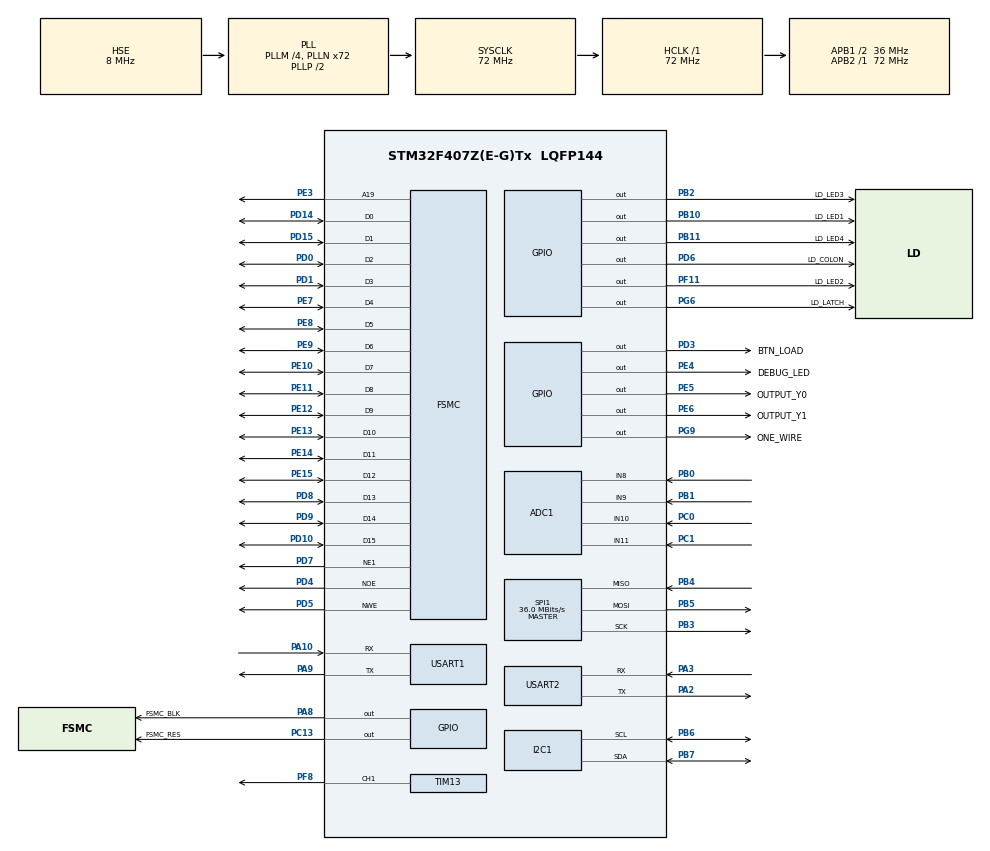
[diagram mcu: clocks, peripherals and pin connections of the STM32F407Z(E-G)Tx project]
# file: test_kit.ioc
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ADC1.Channel-10\#ChannelRegularConversion=ADC_CHANNEL_10
ADC1.Channel-11\#ChannelRegularConversion=ADC_CHANNEL_11
ADC1.Channel-12\#ChannelRegularConversion=ADC_CHANNEL_8
ADC1.Channel-13\#ChannelRegularConversion=ADC_CHANNEL_9
ADC1.ContinuousConvMode=DISABLE
ADC1.DMAContinuousRequests=DISABLE
ADC1.NbrOfConversion=4
ADC1.NbrOfConversionFlag=1
ADC1.Rank-10\#ChannelRegularConversion=1
ADC1.Rank-11\#ChannelRegularConversion=2
ADC1.Rank-12\#ChannelRegularConversion=3
ADC1.Rank-13\#ChannelRegularConversion=4
ADC1.SamplingTime-10\#ChannelRegularConversion=ADC_SAMPLETIME_15CYCLES
ADC1.SamplingTime-11\#ChannelRegularConversion=ADC_SAMPLETIME_15CYCLES
ADC1.SamplingTime-12\#ChannelRegularConversion=ADC_SAMPLETIME_15CYCLES
ADC1.SamplingTime-13\#ChannelRegularConversion=ADC_SAMPLETIME_15CYCLES
ADC1.ScanConvMode=ENABLE
ADC1.master=1
Dma.ADC1.0.Direction=DMA_PERIPH_TO_MEMORY
Dma.ADC1.0.FIFOMode=DMA_FIFOMODE_DISABLE
Dma.ADC1.0.Instance=DMA2_Stream0
Dma.ADC1.0.MemDataAlignment=DMA_MDATAALIGN_WORD
Dma.ADC1.0.MemInc=DMA_MINC_ENABLE
Dma.ADC1.0.Mode=DMA_CIRCULAR
Dma.ADC1.0.PeriphDataAlignment=DMA_PDATAALIGN_WORD
Dma.ADC1.0.PeriphInc=DMA_PINC_DISABLE
Dma.ADC1.0.Priority=DMA_PRIORITY_LOW
Dma.Request0=ADC1
FSMC.AddressSetupTime1=0x0f
FSMC.BusTurnAroundDuration1=0x00
FSMC.DataSetupTime1=60
FSMC.ExtendedAddressSetupTime1=9
FSMC.ExtendedBusTurnAroundDuration1=0
FSMC.ExtendedDataSetupTime1=8
FSMC.ExtendedMode1=FSMC_EXTENDED_MODE_ENABLE
Mcu.Family=STM32F4
Mcu.Name=STM32F407Z(E-G)Tx
Mcu.Package=LQFP144
NVIC.DMA2_Stream0_IRQn=true\:0\:0\:false\:false\:true\:false\:true
NVIC.I2C1_EV_IRQn=true\:0\:0\:false\:false\:true\:true\:true
NVIC.PriorityGroup=NVIC_PRIORITYGROUP_4
NVIC.SPI1_IRQn=true\:0\:0\:false\:false\:true\:true\:true
NVIC.TIM2_IRQn=true\:0\:0\:false\:false\:true\:true\:true
NVIC.USART1_IRQn=true\:0\:0\:false\:false\:true\:true\:true
NVIC.USART2_IRQn=true\:0\:0\:false\:false\:true\:true\:true
PA10.Mode=Asynchronous
PA10.Signal=USART1_RX
PA13.Mode=Serial_Wire
PA13.Signal=SYS_JTMS-SWDIO
PA14.Mode=Serial_Wire
PA14.Signal=SYS_JTCK-SWCLK
PA2.Mode=Asynchronous
PA2.Signal=USART2_TX
PA3.Mode=Asynchronous
PA3.Signal=USART2_RX
PA8.GPIO_Label=FSMC_BLK
PA8.GPIO_PuPd=GPIO_PULLUP
PA8.GPIO_Speed=GPIO_SPEED_FREQ_VERY_HIGH
PA8.Signal=GPIO_Output
PA9.Mode=Asynchronous
PA9.Signal=USART1_TX
PB0.Signal=ADCx_IN8
PB1.Signal=ADCx_IN9
PB10.GPIO_Label=LD_LED1
PB10.GPIO_Speed=GPIO_SPEED_FREQ_LOW
PB10.Signal=GPIO_Output
PB11.GPIO_Label=LD_LED4
PB11.GPIO_Speed=GPIO_SPEED_FREQ_LOW
PB11.Signal=GPIO_Output
PB2.GPIO_Label=LD_LED3
PB2.GPIO_Speed=GPIO_SPEED_FREQ_LOW
PB2.Signal=GPIO_Output
PB3.Mode=Full_Duplex_Master
PB3.Signal=SPI1_SCK
PB4.Mode=Full_Duplex_Master
PB4.Signal=SPI1_MISO
PB5.Mode=Full_Duplex_Master
PB5.Signal=SPI1_MOSI
PB6.Mode=I2C
PB6.Signal=I2C1_SCL
PB7.Mode=I2C
PB7.Signal=I2C1_SDA
PC0.Signal=ADCx_IN10
PC1.Signal=ADCx_IN11
PC13-ANTI_TAMP.GPIO_Label=FSMC_RES
PC13-ANTI_TAMP.GPIO_PuPd=GPIO_PULLUP
PC13-ANTI_TAMP.Signal=GPIO_Output
PD0.GPIO_PuPd=GPIO_PULLUP
PD0.Signal=FSMC_D2_DA2
PD1.GPIO_PuPd=GPIO_PULLUP
PD1.Signal=FSMC_D3_DA3
PD10.GPIO_PuPd=GPIO_PULLUP
PD10.Signal=FSMC_D15_DA15
PD14.GPIO_PuPd=GPIO_PULLUP
PD14.Signal=FSMC_D0_DA0
PD15.GPIO_PuPd=GPIO_PULLUP
PD15.Signal=FSMC_D1_DA1
PD3.GPIO_Label=BTN_LOAD
PD3.Signal=GPIO_Output
PD4.GPIO_PuPd=GPIO_PULLUP
PD4.Signal=FSMC_NOE
PD5.GPIO_PuPd=GPIO_PULLUP
PD5.Signal=FSMC_NWE
PD6.GPIO_Label=LD_COLON
PD6.Signal=GPIO_Output
PD7.GPIO_PuPd=GPIO_PULLUP
PD7.Mode=NorPsramChipSelect1_1
PD7.Signal=FSMC_NE1
PD8.GPIO_PuPd=GPIO_PULLUP
PD8.Signal=FSMC_D13_DA13
PD9.GPIO_PuPd=GPIO_PULLUP
PD9.Signal=FSMC_D14_DA14
PE10.GPIO_PuPd=GPIO_PULLUP
PE10.Signal=FSMC_D7_DA7
PE11.GPIO_PuPd=GPIO_PULLUP
PE11.Signal=FSMC_D8_DA8
PE12.GPIO_PuPd=GPIO_PULLUP
PE12.Signal=FSMC_D9_DA9
PE13.GPIO_PuPd=GPIO_PULLUP
PE13.Signal=FSMC_D10_DA10
PE14.GPIO_PuPd=GPIO_PULLUP
PE14.Signal=FSMC_D11_DA11
PE15.GPIO_PuPd=GPIO_PULLUP
PE15.Signal=FSMC_D12_DA12
PE3.GPIO_PuPd=GPIO_PULLUP
PE3.Signal=FSMC_A19
PE4.GPIO_Label=DEBUG_LED
PE4.Signal=GPIO_Output
PE5.GPIO_Label=OUTPUT_Y0
PE5.Signal=GPIO_Output
PE6.GPIO_Label=OUTPUT_Y1
PE6.Signal=GPIO_Output
PE7.GPIO_PuPd=GPIO_PULLUP
PE7.Signal=FSMC_D4_DA4
PE8.GPIO_PuPd=GPIO_PULLUP
PE8.Signal=FSMC_D5_DA5
PE9.GPIO_PuPd=GPIO_PULLUP
PE9.Signal=FSMC_D6_DA6
PF11.GPIO_Label=LD_LED2
PF11.GPIO_Speed=GPIO_SPEED_FREQ_LOW
PF11.Signal=GPIO_Output
PF8.Signal=S_TIM13_CH1
PG6.GPIO_Label=LD_LATCH
PG6.Signal=GPIO_Output
PG9.GPIO_Label=ONE_WIRE
PG9.GPIO_PuPd=GPIO_NOPULL
PG9.Signal=GPIO_Output
PH0-OSC_IN.Mode=HSE-External-Oscillator
PH0-OSC_IN.Signal=RCC_OSC_IN
PH1-OSC_OUT.Mode=HSE-External-Oscillator
PH1-OSC_OUT.Signal=RCC_OSC_OUT
ProjectManager.HeapSize=0x200
ProjectManager.StackSize=0x400
ProjectManager.TargetToolchain=STM32CubeIDE
RCC.48MHZClocksFreq_Value=36000000
RCC.AHBFreq_Value=72000000
RCC.APB1CLKDivider=RCC_HCLK_DIV2
RCC.APB1Freq_Value=36000000
RCC.APB1TimFreq_Value=72000000
RCC.APB2Freq_Value=72000000
RCC.APB2TimFreq_Value=72000000
RCC.CortexFreq_Value=72000000
RCC.HCLKFreq_Value=72000000
RCC.HSE_VALUE=8000000
RCC.HSI_VALUE=16000000
RCC.LSE_VALUE=32768
RCC.PLLM=4
RCC.PLLN=72
RCC.PLLSourceVirtual=RCC_PLLSOURCE_HSE
RCC.SYSCLKFreq_VALUE=72000000
RCC.SYSCLKSource=RCC_SYSCLKSOURCE_PLLCLK
RCC.VCOOutputFreq_Value=144000000
SH.ADCx_IN10.0=ADC1_IN10,IN10
SH.ADCx_IN11.0=ADC1_IN11,IN11
SH.ADCx_IN8.0=ADC1_IN8,IN8
SH.ADCx_IN9.0=ADC1_IN9,IN9
SH.FSMC_A19.0=FSMC_A19,A19_1
SH.FSMC_D0_DA0.0=FSMC_D0,16b-d1
SH.FSMC_D10_DA10.0=FSMC_D10,16b-d1
SH.FSMC_D11_DA11.0=FSMC_D11,16b-d1
SH.FSMC_D12_DA12.0=FSMC_D12,16b-d1
SH.FSMC_D13_DA13.0=FSMC_D13,16b-d1
SH.FSMC_D14_DA14.0=FSMC_D14,16b-d1
SH.FSMC_D15_DA15.0=FSMC_D15,16b-d1
SH.FSMC_D1_DA1.0=FSMC_D1,16b-d1
SH.FSMC_D2_DA2.0=FSMC_D2,16b-d1
SH.FSMC_D3_DA3.0=FSMC_D3,16b-d1
SH.FSMC_D4_DA4.0=FSMC_D4,16b-d1
SH.FSMC_D5_DA5.0=FSMC_D5,16b-d1
SH.FSMC_D6_DA6.0=FSMC_D6,16b-d1
SH.FSMC_D7_DA7.0=FSMC_D7,16b-d1
SH.FSMC_D8_DA8.0=FSMC_D8,16b-d1
SH.FSMC_D9_DA9.0=FSMC_D9,16b-d1
SH.FSMC_NOE.0=FSMC_NOE,Lcd1
SH.FSMC_NWE.0=FSMC_NWE,Lcd1
SH.S_TIM13_CH1.0=TIM13_CH1,PWM Generation1 CH1
SPI1.BaudRatePrescaler=SPI_BAUDRATEPRESCALER_2
SPI1.CalculateBaudRate=36.0 MBits/s
SPI1.Direction=SPI_DIRECTION_2LINES
SPI1.FirstBit=SPI_FIRSTBIT_MSB
SPI1.Mode=SPI_MODE_MASTER
SPI1.VirtualType=VM_MASTER
TIM13.AutoReloadPreload=TIM_AUTORELOAD_PRELOAD_ENABLE
TIM13.Channel=TIM_CHANNEL_1
TIM13.Period=9
TIM13.Prescaler=7199
TIM13.Pulse=0
TIM2.Period=99
TIM2.Prescaler=719
TIM3.AutoReloadPreload=TIM_AUTORELOAD_PRELOAD_ENABLE
TIM3.Period=0xffff-1
TIM3.Prescaler=71
USART1.VirtualMode=VM_ASYNC
USART2.VirtualMode=VM_ASYNC
VP_TIM13_VS_ClockSourceINT.Mode=Enable_Timer
VP_TIM2_VS_ClockSourceINT.Mode=Internal
VP_TIM3_VS_ClockSourceINT.Mode=Internal
board=custom

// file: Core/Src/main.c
/* USER CODE BEGIN Header */
/**
  ******************************************************************************
  * @file           : main.c
  * @brief          : Main program body
  ******************************************************************************
  * @attention
  *
  * <h2><center>&copy; Copyright (c) 2023 STMicroelectronics.
  * All rights reserved.</center></h2>
  *
  * This software component is licensed by ST under BSD 3-Clause license,
  * the "License"; You may not use this file except in compliance with the
  * License. You may obtain a copy of the License at:
  *                        opensource.org/licenses/BSD-3-Clause
  *
  ******************************************************************************
  */
/* USER CODE END Header */
#include "main.h"

/* USER CODE BEGIN Includes */
#include "timer.h"
#include "led7.h"
#include "button.h"
#include "dht11.h"
#include "ds3231.h"
#include "pwm.h"
#include "lcd.h"
#include "adc.h"
#include <stdio.h>
/* USER CODE END Includes */

ADC_HandleTypeDef hadc1;
DMA_HandleTypeDef hdma_adc1;

I2C_HandleTypeDef hi2c1;

SPI_HandleTypeDef hspi1;

TIM_HandleTypeDef htim2;
TIM_HandleTypeDef htim3;
TIM_HandleTypeDef htim13;

UART_HandleTypeDef huart1;
UART_HandleTypeDef huart2;

SRAM_HandleTypeDef hsram1;

/* USER CODE BEGIN PV */
uint8_t counter_debug = 0;
/* USER CODE END PV */

void SystemClock_Config(void);
static void MX_GPIO_Init(void);
static void MX_TIM2_Init(void);
static void MX_USART1_UART_Init(void);
static void MX_SPI1_Init(void);
static void MX_DMA_Init(void);
static void MX_ADC1_Init(void);
static void MX_TIM3_Init(void);
static void MX_I2C1_Init(void);
static void MX_USART2_UART_Init(void);
static void MX_TIM13_Init(void);
static void MX_FSMC_Init(void);
/* USER CODE BEGIN PFP */
void output_Test();
void init_system();
/* USER CODE END PFP */

/* USER CODE BEGIN 0 */
void DrawTestPage(uint8_t *str)
{
	lcd_Fill(0,0,lcddev.width,20,BLUE);
	lcd_Fill(0,lcddev.height-20,lcddev.width,lcddev.height,BLUE);
	lcd_StrCenter(0,2,str,WHITE,BLUE,16,1);
	lcd_StrCenter(0,lcddev.height-18,"Test page",WHITE,BLUE,16,1);
	lcd_Fill(0,20,lcddev.width,lcddev.height-20,BLACK);
}
/* USER CODE END 0 */

int main(void)
{

  /* MCU Configuration--------------------------------------------------------*/

  /* Reset of all peripherals, Initializes the Flash interface and the Systick. */
  HAL_Init();

  /* Configure the system clock */
  SystemClock_Config();

  /* Initialize all configured peripherals */
  MX_GPIO_Init();
  MX_TIM2_Init();
  MX_USART1_UART_Init();
  MX_SPI1_Init();
  MX_DMA_Init();
  MX_ADC1_Init();
  MX_TIM3_Init();
  MX_I2C1_Init();
  MX_USART2_UART_Init();
  MX_TIM13_Init();
  MX_FSMC_Init();
  /* USER CODE BEGIN 2 */
  init_system();
  /* USER CODE END 2 */

  /* Infinite loop */
  /* USER CODE BEGIN WHILE */

  //read
  uint8_t s[50];

//  HAL_UART_Transmit(&huart1, (void*)s, sprintf(s, "%d:%d:%d", getHour(), getMin(), getSec()), 10);
  lcd_ShowOne();
  while (1)
  {
    /* USER CODE END WHILE */

    /* USER CODE BEGIN 3 */
	  while(!flag_timer2);
	  flag_timer2 = 0;
	  rtc_Read();
	  button_Scan();
	  adc_Test();
	  lcd_Test();
	  output_Test();
	  rtc_Display7Seg();
	  button_Test();
	  pwm_Test();
  }
  /* USER CODE END 3 */
}

void SystemClock_Config(void)
{
  RCC_OscInitTypeDef RCC_OscInitStruct = {0};
  RCC_ClkInitTypeDef RCC_ClkInitStruct = {0};

  /** Configure the main internal regulator output voltage
  */
  __HAL_RCC_PWR_CLK_ENABLE();
  __HAL_PWR_VOLTAGESCALING_CONFIG(PWR_REGULATOR_VOLTAGE_SCALE1);
  /** Initializes the RCC Oscillators according to the specified parameters
  * in the RCC_OscInitTypeDef structure.
  */
  RCC_OscInitStruct.OscillatorType = RCC_OSCILLATORTYPE_HSE;
  RCC_OscInitStruct.HSEState = RCC_HSE_ON;
  RCC_OscInitStruct.PLL.PLLState = RCC_PLL_ON;
  RCC_OscInitStruct.PLL.PLLSource = RCC_PLLSOURCE_HSE;
  RCC_OscInitStruct.PLL.PLLM = 4;
  RCC_OscInitStruct.PLL.PLLN = 72;
  RCC_OscInitStruct.PLL.PLLP = RCC_PLLP_DIV2;
  RCC_OscInitStruct.PLL.PLLQ = 4;
  if (HAL_RCC_OscConfig(&RCC_OscInitStruct) != HAL_OK)
  {
    Error_Handler();
  }
  /** Initializes the CPU, AHB and APB buses clocks
  */
  RCC_ClkInitStruct.ClockType = RCC_CLOCKTYPE_HCLK|RCC_CLOCKTYPE_SYSCLK
                              |RCC_CLOCKTYPE_PCLK1|RCC_CLOCKTYPE_PCLK2;
  RCC_ClkInitStruct.SYSCLKSource = RCC_SYSCLKSOURCE_PLLCLK;
  RCC_ClkInitStruct.AHBCLKDivider = RCC_SYSCLK_DIV1;
  RCC_ClkInitStruct.APB1CLKDivider = RCC_HCLK_DIV2;
  RCC_ClkInitStruct.APB2CLKDivider = RCC_HCLK_DIV1;

  if (HAL_RCC_ClockConfig(&RCC_ClkInitStruct, FLASH_LATENCY_2) != HAL_OK)
  {
    Error_Handler();
  }
}

static void MX_ADC1_Init(void)
{

  ADC_ChannelConfTypeDef sConfig = {0};

  /** Configure the global features of the ADC (Clock, Resolution, Data Alignment and number of conversion)
  */
  hadc1.Instance = ADC1;
  hadc1.Init.ClockPrescaler = ADC_CLOCK_SYNC_PCLK_DIV2;
  hadc1.Init.Resolution = ADC_RESOLUTION_12B;
  hadc1.Init.ScanConvMode = ENABLE;
  hadc1.Init.ContinuousConvMode = DISABLE;
  hadc1.Init.DiscontinuousConvMode = DISABLE;
  hadc1.Init.ExternalTrigConvEdge = ADC_EXTERNALTRIGCONVEDGE_NONE;
  hadc1.Init.ExternalTrigConv = ADC_SOFTWARE_START;
  hadc1.Init.DataAlign = ADC_DATAALIGN_RIGHT;
  hadc1.Init.NbrOfConversion = 4;
  hadc1.Init.DMAContinuousRequests = DISABLE;
  hadc1.Init.EOCSelection = ADC_EOC_SINGLE_CONV;
  if (HAL_ADC_Init(&hadc1) != HAL_OK)
  {
    Error_Handler();
  }
  /** Configure for the selected ADC regular channel its corresponding rank in the sequencer and its sample time.
  */
  sConfig.Channel = ADC_CHANNEL_10;
  sConfig.Rank = 1;
  sConfig.SamplingTime = ADC_SAMPLETIME_15CYCLES;
  if (HAL_ADC_ConfigChannel(&hadc1, &sConfig) != HAL_OK)
  {
    Error_Handler();
  }
  /** Configure for the selected ADC regular channel its corresponding rank in the sequencer and its sample time.
  */
  sConfig.Channel = ADC_CHANNEL_11;
  sConfig.Rank = 2;
  if (HAL_ADC_ConfigChannel(&hadc1, &sConfig) != HAL_OK)
  {
    Error_Handler();
  }
  /** Configure for the selected ADC regular channel its corresponding rank in the sequencer and its sample time.
  */
  sConfig.Channel = ADC_CHANNEL_8;
  sConfig.Rank = 3;
  if (HAL_ADC_ConfigChannel(&hadc1, &sConfig) != HAL_OK)
  {
    Error_Handler();
  }
  /** Configure for the selected ADC regular channel its corresponding rank in the sequencer and its sample time.
  */
  sConfig.Channel = ADC_CHANNEL_9;
  sConfig.Rank = 4;
  if (HAL_ADC_ConfigChannel(&hadc1, &sConfig) != HAL_OK)
  {
    Error_Handler();
  }

}

static void MX_I2C1_Init(void)
{

  hi2c1.Instance = I2C1;
  hi2c1.Init.ClockSpeed = 100000;
  hi2c1.Init.DutyCycle = I2C_DUTYCYCLE_2;
  hi2c1.Init.OwnAddress1 = 0;
  hi2c1.Init.AddressingMode = I2C_ADDRESSINGMODE_7BIT;
  hi2c1.Init.DualAddressMode = I2C_DUALADDRESS_DISABLE;
  hi2c1.Init.OwnAddress2 = 0;
  hi2c1.Init.GeneralCallMode = I2C_GENERALCALL_DISABLE;
  hi2c1.Init.NoStretchMode = I2C_NOSTRETCH_DISABLE;
  if (HAL_I2C_Init(&hi2c1) != HAL_OK)
  {
    Error_Handler();
  }

}

static void MX_SPI1_Init(void)
{

  /* SPI1 parameter configuration*/
  hspi1.Instance = SPI1;
  hspi1.Init.Mode = SPI_MODE_MASTER;
  hspi1.Init.Direction = SPI_DIRECTION_2LINES;
  hspi1.Init.DataSize = SPI_DATASIZE_8BIT;
  hspi1.Init.CLKPolarity = SPI_POLARITY_LOW;
  hspi1.Init.CLKPhase = SPI_PHASE_1EDGE;
  hspi1.Init.NSS = SPI_NSS_SOFT;
  hspi1.Init.BaudRatePrescaler = SPI_BAUDRATEPRESCALER_2;
  hspi1.Init.FirstBit = SPI_FIRSTBIT_MSB;
  hspi1.Init.TIMode = SPI_TIMODE_DISABLE;
  hspi1.Init.CRCCalculation = SPI_CRCCALCULATION_DISABLE;
  hspi1.Init.CRCPolynomial = 10;
  if (HAL_SPI_Init(&hspi1) != HAL_OK)
  {
    Error_Handler();
  }

}

static void MX_TIM2_Init(void)
{

  TIM_ClockConfigTypeDef sClockSourceConfig = {0};
  TIM_MasterConfigTypeDef sMasterConfig = {0};

  htim2.Instance = TIM2;
  htim2.Init.Prescaler = 719;
  htim2.Init.CounterMode = TIM_COUNTERMODE_UP;
  htim2.Init.Period = 99;
  htim2.Init.ClockDivision = TIM_CLOCKDIVISION_DIV1;
  htim2.Init.AutoReloadPreload = TIM_AUTORELOAD_PRELOAD_DISABLE;
  if (HAL_TIM_Base_Init(&htim2) != HAL_OK)
  {
    Error_Handler();
  }
  sClockSourceConfig.ClockSource = TIM_CLOCKSOURCE_INTERNAL;
  if (HAL_TIM_ConfigClockSource(&htim2, &sClockSourceConfig) != HAL_OK)
  {
    Error_Handler();
  }
  sMasterConfig.MasterOutputTrigger = TIM_TRGO_RESET;
  sMasterConfig.MasterSlaveMode = TIM_MASTERSLAVEMODE_DISABLE;
  if (HAL_TIMEx_MasterConfigSynchronization(&htim2, &sMasterConfig) != HAL_OK)
  {
    Error_Handler();
  }

}

static void MX_TIM3_Init(void)
{

  TIM_ClockConfigTypeDef sClockSourceConfig = {0};
  TIM_MasterConfigTypeDef sMasterConfig = {0};

  htim3.Instance = TIM3;
  htim3.Init.Prescaler = 71;
  htim3.Init.CounterMode = TIM_COUNTERMODE_UP;
  htim3.Init.Period = 0xffff-1;
  htim3.Init.ClockDivision = TIM_CLOCKDIVISION_DIV1;
  htim3.Init.AutoReloadPreload = TIM_AUTORELOAD_PRELOAD_ENABLE;
  if (HAL_TIM_Base_Init(&htim3) != HAL_OK)
  {
    Error_Handler();
  }
  sClockSourceConfig.ClockSource = TIM_CLOCKSOURCE_INTERNAL;
  if (HAL_TIM_ConfigClockSource(&htim3, &sClockSourceConfig) != HAL_OK)
  {
    Error_Handler();
  }
  sMasterConfig.MasterOutputTrigger = TIM_TRGO_RESET;
  sMasterConfig.MasterSlaveMode = TIM_MASTERSLAVEMODE_DISABLE;
  if (HAL_TIMEx_MasterConfigSynchronization(&htim3, &sMasterConfig) != HAL_OK)
  {
    Error_Handler();
  }

}

static void MX_TIM13_Init(void)
{

  TIM_OC_InitTypeDef sConfigOC = {0};

  htim13.Instance = TIM13;
  htim13.Init.Prescaler = 7199;
  htim13.Init.CounterMode = TIM_COUNTERMODE_UP;
  htim13.Init.Period = 9;
  htim13.Init.ClockDivision = TIM_CLOCKDIVISION_DIV1;
  htim13.Init.AutoReloadPreload = TIM_AUTORELOAD_PRELOAD_ENABLE;
  if (HAL_TIM_Base_Init(&htim13) != HAL_OK)
  {
    Error_Handler();
  }
  if (HAL_TIM_PWM_Init(&htim13) != HAL_OK)
  {
    Error_Handler();
  }
  sConfigOC.OCMode = TIM_OCMODE_PWM1;
  sConfigOC.Pulse = 0;
  sConfigOC.OCPolarity = TIM_OCPOLARITY_HIGH;
  sConfigOC.OCFastMode = TIM_OCFAST_DISABLE;
  if (HAL_TIM_PWM_ConfigChannel(&htim13, &sConfigOC, TIM_CHANNEL_1) != HAL_OK)
  {
    Error_Handler();
  }
  HAL_TIM_MspPostInit(&htim13);

}

static void MX_USART1_UART_Init(void)
{

  huart1.Instance = USART1;
  huart1.Init.BaudRate = 115200;
  huart1.Init.WordLength = UART_WORDLENGTH_8B;
  huart1.Init.StopBits = UART_STOPBITS_1;
  huart1.Init.Parity = UART_PARITY_NONE;
  huart1.Init.Mode = UART_MODE_TX_RX;
  huart1.Init.HwFlowCtl = UART_HWCONTROL_NONE;
  huart1.Init.OverSampling = UART_OVERSAMPLING_16;
  if (HAL_UART_Init(&huart1) != HAL_OK)
  {
    Error_Handler();
  }

}

static void MX_USART2_UART_Init(void)
{

  huart2.Instance = USART2;
  huart2.Init.BaudRate = 115200;
  huart2.Init.WordLength = UART_WORDLENGTH_8B;
  huart2.Init.StopBits = UART_STOPBITS_1;
  huart2.Init.Parity = UART_PARITY_NONE;
  huart2.Init.Mode = UART_MODE_TX_RX;
  huart2.Init.HwFlowCtl = UART_HWCONTROL_NONE;
  huart2.Init.OverSampling = UART_OVERSAMPLING_16;
  if (HAL_UART_Init(&huart2) != HAL_OK)
  {
    Error_Handler();
  }

}

static void MX_DMA_Init(void)
{

  /* DMA controller clock enable */
  __HAL_RCC_DMA2_CLK_ENABLE();

  /* DMA interrupt init */
  /* DMA2_Stream0_IRQn interrupt configuration */
  HAL_NVIC_SetPriority(DMA2_Stream0_IRQn, 0, 0);
  HAL_NVIC_EnableIRQ(DMA2_Stream0_IRQn);

}

static void MX_GPIO_Init(void)
{
  GPIO_InitTypeDef GPIO_InitStruct = {0};

  /* GPIO Ports Clock Enable */
  __HAL_RCC_GPIOE_CLK_ENABLE();
  __HAL_RCC_GPIOC_CLK_ENABLE();
  __HAL_RCC_GPIOF_CLK_ENABLE();
  __HAL_RCC_GPIOH_CLK_ENABLE();
  __HAL_RCC_GPIOA_CLK_ENABLE();
  __HAL_RCC_GPIOB_CLK_ENABLE();
  __HAL_RCC_GPIOD_CLK_ENABLE();
  __HAL_RCC_GPIOG_CLK_ENABLE();

  /*Configure GPIO pin Output Level */
  HAL_GPIO_WritePin(GPIOE, DEBUG_LED_Pin|OUTPUT_Y0_Pin|OUTPUT_Y1_Pin, GPIO_PIN_RESET);

  /*Configure GPIO pin Output Level */
  HAL_GPIO_WritePin(FSMC_RES_GPIO_Port, FSMC_RES_Pin, GPIO_PIN_RESET);

  /*Configure GPIO pin Output Level */
  HAL_GPIO_WritePin(GPIOB, LD_LED3_Pin|LD_LED1_Pin|LD_LED4_Pin, GPIO_PIN_RESET);

  /*Configure GPIO pin Output Level */
  HAL_GPIO_WritePin(LD_LED2_GPIO_Port, LD_LED2_Pin, GPIO_PIN_RESET);

  /*Configure GPIO pin Output Level */
  HAL_GPIO_WritePin(GPIOG, LD_LATCH_Pin|ONE_WIRE_Pin, GPIO_PIN_RESET);

  /*Configure GPIO pin Output Level */
  HAL_GPIO_WritePin(FSMC_BLK_GPIO_Port, FSMC_BLK_Pin, GPIO_PIN_RESET);

  /*Configure GPIO pin Output Level */
  HAL_GPIO_WritePin(GPIOD, BTN_LOAD_Pin|LD_COLON_Pin, GPIO_PIN_RESET);

  /*Configure GPIO pins : DEBUG_LED_Pin OUTPUT_Y0_Pin OUTPUT_Y1_Pin */
  GPIO_InitStruct.Pin = DEBUG_LED_Pin|OUTPUT_Y0_Pin|OUTPUT_Y1_Pin;
  GPIO_InitStruct.Mode = GPIO_MODE_OUTPUT_PP;
  GPIO_InitStruct.Pull = GPIO_NOPULL;
  GPIO_InitStruct.Speed = GPIO_SPEED_FREQ_LOW;
  HAL_GPIO_Init(GPIOE, &GPIO_InitStruct);

  /*Configure GPIO pin : FSMC_RES_Pin */
  GPIO_InitStruct.Pin = FSMC_RES_Pin;
  GPIO_InitStruct.Mode = GPIO_MODE_OUTPUT_PP;
  GPIO_InitStruct.Pull = GPIO_PULLUP;
  GPIO_InitStruct.Speed = GPIO_SPEED_FREQ_LOW;
  HAL_GPIO_Init(FSMC_RES_GPIO_Port, &GPIO_InitStruct);

  /*Configure GPIO pins : LD_LED3_Pin LD_LED1_Pin LD_LED4_Pin */
  GPIO_InitStruct.Pin = LD_LED3_Pin|LD_LED1_Pin|LD_LED4_Pin;
  GPIO_InitStruct.Mode = GPIO_MODE_OUTPUT_PP;
  GPIO_InitStruct.Pull = GPIO_NOPULL;
  GPIO_InitStruct.Speed = GPIO_SPEED_FREQ_LOW;
  HAL_GPIO_Init(GPIOB, &GPIO_InitStruct);

  /*Configure GPIO pin : LD_LED2_Pin */
  GPIO_InitStruct.Pin = LD_LED2_Pin;
  GPIO_InitStruct.Mode = GPIO_MODE_OUTPUT_PP;
  GPIO_InitStruct.Pull = GPIO_NOPULL;
  GPIO_InitStruct.Speed = GPIO_SPEED_FREQ_LOW;
  HAL_GPIO_Init(LD_LED2_GPIO_Port, &GPIO_InitStruct);

  /*Configure GPIO pins : LD_LATCH_Pin ONE_WIRE_Pin */
  GPIO_InitStruct.Pin = LD_LATCH_Pin|ONE_WIRE_Pin;
  GPIO_InitStruct.Mode = GPIO_MODE_OUTPUT_PP;
  GPIO_InitStruct.Pull = GPIO_NOPULL;
  GPIO_InitStruct.Speed = GPIO_SPEED_FREQ_LOW;
  HAL_GPIO_Init(GPIOG, &GPIO_InitStruct);

  /*Configure GPIO pin : FSMC_BLK_Pin */
  GPIO_InitStruct.Pin = FSMC_BLK_Pin;
  GPIO_InitStruct.Mode = GPIO_MODE_OUTPUT_PP;
  GPIO_InitStruct.Pull = GPIO_PULLUP;
  GPIO_InitStruct.Speed = GPIO_SPEED_FREQ_VERY_HIGH;
  HAL_GPIO_Init(FSMC_BLK_GPIO_Port, &GPIO_InitStruct);

  /*Configure GPIO pins : BTN_LOAD_Pin LD_COLON_Pin */
  GPIO_InitStruct.Pin = BTN_LOAD_Pin|LD_COLON_Pin;
  GPIO_InitStruct.Mode = GPIO_MODE_OUTPUT_PP;
  GPIO_InitStruct.Pull = GPIO_NOPULL;
  GPIO_InitStruct.Speed = GPIO_SPEED_FREQ_LOW;
  HAL_GPIO_Init(GPIOD, &GPIO_InitStruct);

}

/* FSMC initialization function */
static void MX_FSMC_Init(void)
{

  FSMC_NORSRAM_TimingTypeDef Timing = {0};
  FSMC_NORSRAM_TimingTypeDef ExtTiming = {0};

  /** Perform the SRAM1 memory initialization sequence
  */
  hsram1.Instance = FSMC_NORSRAM_DEVICE;
  hsram1.Extended = FSMC_NORSRAM_EXTENDED_DEVICE;
  /* hsram1.Init */
  hsram1.Init.NSBank = FSMC_NORSRAM_BANK1;
  hsram1.Init.DataAddressMux = FSMC_DATA_ADDRESS_MUX_DISABLE;
  hsram1.Init.MemoryType = FSMC_MEMORY_TYPE_SRAM;
  hsram1.Init.MemoryDataWidth = FSMC_NORSRAM_MEM_BUS_WIDTH_16;
  hsram1.Init.BurstAccessMode = FSMC_BURST_ACCESS_MODE_DISABLE;
  hsram1.Init.WaitSignalPolarity = FSMC_WAIT_SIGNAL_POLARITY_LOW;
  hsram1.Init.WrapMode = FSMC_WRAP_MODE_DISABLE;
  hsram1.Init.WaitSignalActive = FSMC_WAIT_TIMING_BEFORE_WS;
  hsram1.Init.WriteOperation = FSMC_WRITE_OPERATION_ENABLE;
  hsram1.Init.WaitSignal = FSMC_WAIT_SIGNAL_DISABLE;
  hsram1.Init.ExtendedMode = FSMC_EXTENDED_MODE_ENABLE;
  hsram1.Init.AsynchronousWait = FSMC_ASYNCHRONOUS_WAIT_DISABLE;
  hsram1.Init.WriteBurst = FSMC_WRITE_BURST_DISABLE;
  hsram1.Init.PageSize = FSMC_PAGE_SIZE_NONE;
  /* Timing */
  Timing.AddressSetupTime = 0x0f;
  Timing.AddressHoldTime = 15;
  Timing.DataSetupTime = 60;
  Timing.BusTurnAroundDuration = 0x00;
  Timing.CLKDivision = 16;
  Timing.DataLatency = 17;
  Timing.AccessMode = FSMC_ACCESS_MODE_A;
  /* ExtTiming */
  ExtTiming.AddressSetupTime = 9;
  ExtTiming.AddressHoldTime = 15;
  ExtTiming.DataSetupTime = 8;
  ExtTiming.BusTurnAroundDuration = 0;
  ExtTiming.CLKDivision = 16;
  ExtTiming.DataLatency = 17;
  ExtTiming.AccessMode = FSMC_ACCESS_MODE_A;

  if (HAL_SRAM_Init(&hsram1, &Timing, &ExtTiming) != HAL_OK)
  {
    Error_Handler( );
  }

}

/* USER CODE BEGIN 4 */

void delay_us(uint16_t us)
{
	__HAL_TIM_SET_COUNTER(&htim3,0);  // set the counter value a 0
	__HAL_TIM_ENABLE(&htim3);
	while (__HAL_TIM_GET_COUNTER(&htim3) < us);  // wait for the counter to reach the us input in the parameter
	__HAL_TIM_DISABLE(&htim3);
}

void output_Test(){
	HAL_GPIO_WritePin(OUTPUT_Y0_GPIO_Port, OUTPUT_Y0_Pin, button_count[1]);
	counter_debug = (counter_debug + 1)%20;
	if(counter_debug == 0){
		HAL_GPIO_TogglePin(DEBUG_LED_GPIO_Port, DEBUG_LED_Pin);
	}
	if(button_count[2] % 20 == 1){
		HAL_GPIO_TogglePin(OUTPUT_Y1_GPIO_Port, OUTPUT_Y1_Pin);
	}
	if(button_count[3] == 1){
		lcd_SetDir(DFT_SCAN_DIR);
		LCD_WR_REG(0x36);    // Memory Access Control
		LCD_WR_DATA(0x08|DFT_SCAN_DIR);
		lcd_Clear(BLACK);
	}
}

void init_system(){
	timer_init();
	pwm_init();
	button_init();
	led7_init();
	adc_init();
	uart_init();
	lcd_init();
	rtc_init();
	HAL_GPIO_WritePin(DEBUG_LED_GPIO_Port, DEBUG_LED_Pin, 1);
}
/* USER CODE END 4 */

void Error_Handler(void)
{
  __disable_irq();
  while (1)
  {
  }
}

/************************ (C) COPYRIGHT STMicroelectronics *****END OF FILE****/
